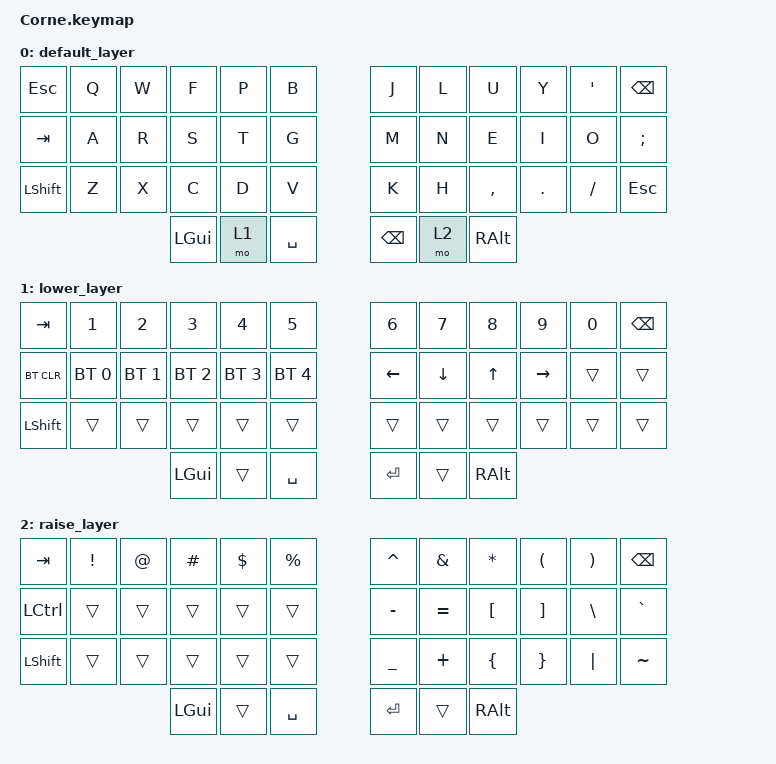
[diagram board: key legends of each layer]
/*
 * Copyright (c) 2020 The ZMK Contributors
 *
 * SPDX-License-Identifier: MIT
 */

#include <behaviors.dtsi>
#include <dt-bindings/zmk/keys.h>
#include <dt-bindings/zmk/bt.h>
#include <dt-bindings/zmk/behaviors.h>

/// {
//    behaviors {
//        hml: home_row_mod_left {
//            compatible = "zmk,behavior-hold-tap";
//            #binding-cells = <2>;
//            flavor = "balanced";
//            require-prior-idle-ms = <150>;
//            tapping-term-ms = <280>;
//            quick-tap-ms = <175>;
//            bindings = <&kp>, <&kp>;
//            hold-trigger-key-positions = <LGUI LALT LCTRL LSHFT>; // List of keys on the left side of the keyboard
//            hold-trigger-on-release;
//        };
//        hmr: home_row_mod_right {
//            compatible = "zmk,behavior-hold-tap";
//            #binding-cells = <2>;
//            flavor = "balanced";
//            require-prior-idle-ms = <150>;
//            tapping-term-ms = <280>;
//            quick-tap-ms = <175>;
//            bindings = <&kp>, <&kp>;
//            hold-trigger-key-positions = <LSHFT LCTRL LALT LGUI>; // List of keys on the right side of the keyboard
//            hold-trigger-on-release;
//        };
//    };
//};

/ {
        keymap {
                compatible = "zmk,keymap";

                default_layer {
// -----------------------------------------------------------------------------------------
// |  TAB |   Q    |   W    |   F    |   P    |  B  |   |  J  |   L     |   U    |   Y    |   '    | BSPC |
// | CTRL |   A    |   R    |   S    |   T    |  G  |   |  M  |   N     |   E    |   I    |   O    |  ;   |
// | SHFT |  G(Z)  |  A(X)  |  C(C)  |  S(D)  |  V  |   |  K  |  S(H)   |  C(,)  |  A(.)  |  G(/)  | ESC  |
//                                | GUI | LWR | SPC |   | BSPC | RSE  | ALT |
                        bindings = <
   &kp ESC   &kp Q  &kp W  &kp F  &kp P  &kp B   &kp J &kp L   &kp U      &kp Y    &kp SQT   &kp BSPC
   &kp TAB   &kp A  &kp R  &kp S  &kp T  &kp G   &kp M &kp N   &kp E      &kp I    &kp O     &kp SEMI
   &kp LSHFT &kp Z &kp X &kp C &kp D &kp V   &kp K &kp H  &kp COMMA &kp DOT &kp FSLH &kp ESC
                      &kp LGUI &mo 1 &kp SPACE   &kp BSPC &mo 2 &kp RALT
                        >;
                };
                lower_layer {
// -----------------------------------------------------------------------------------------
// |  TAB |  1  |  2  |  3  |  4  |  5  |   |  6  |  7  |  8  |  9  |  0  | BSPC |
// | BTCLR| BT1 | BT2 | BT3 | BT4 | BT5 |   | LFT | DWN |  UP | RGT |     |      |
// | SHFT |     |     |     |     |     |   |     |     |     |     |     |      |
//                    | GUI |     | SPC |   | ENT |     | ALT |
                        bindings = <
   &kp TAB    &kp N1       &kp N2       &kp N3       &kp N4       &kp N5         &kp N6   &kp N7   &kp N8 &kp N9    &kp N0 &kp BSPC
   &bt BT_CLR &bt BT_SEL 0 &bt BT_SEL 1 &bt BT_SEL 2 &bt BT_SEL 3 &bt BT_SEL 4   &kp LEFT &kp DOWN &kp UP &kp RIGHT &trans &trans
   &kp LSHFT  &trans       &trans       &trans       &trans       &trans         &trans   &trans   &trans &trans    &trans &trans
                                    &kp LGUI     &trans       &kp SPACE      &kp RET  &trans   &kp RALT
                        >;
                };

                raise_layer {
// -----------------------------------------------------------------------------------------
// |  TAB |  !  |  @  |  #  |  $  |  %  |   |  ^  |  &  |  *  |  (  |  )  | BSPC |
// | CTRL |     |     |     |     |     |   |  -  |  =  |  [  |  ]  |  \  |  `   |
// | SHFT |     |     |     |     |     |   |  _  |  +  |  {  |  }  | "|" |  ~   |
//                    | GUI |     | SPC |   | ENT |     | ALT |
                        bindings = <
   &kp  TAB  &kp EXCL &kp AT &kp HASH &kp DLLR &kp PRCNT   &kp CARET &kp AMPS  &kp ASTRK &kp LPAR &kp RPAR &kp BSPC
   &kp LCTRL &trans   &trans &trans   &trans   &trans      &kp MINUS &kp EQUAL &kp LBKT  &kp RBKT &kp BSLH &kp GRAVE
   &kp LSHFT &trans   &trans &trans   &trans   &trans      &kp UNDER &kp PLUS  &kp LBRC  &kp RBRC &kp PIPE &kp TILDE
                             &kp LGUI &trans   &kp SPACE   &kp RET   &trans    &kp RALT
                        >;
                };
        };
};
